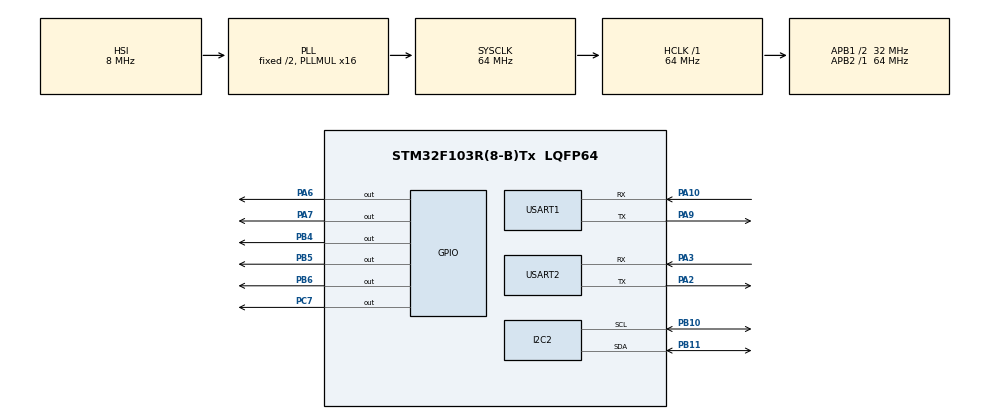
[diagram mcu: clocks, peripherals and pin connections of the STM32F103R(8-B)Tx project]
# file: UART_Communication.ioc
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Mcu.Family=STM32F1
Mcu.Name=STM32F103R(8-B)Tx
Mcu.Package=LQFP64
NVIC.PriorityGroup=NVIC_PRIORITYGROUP_4
NVIC.USART1_IRQn=true\:0\:0\:false\:false\:true\:true\:true\:true
NVIC.USART2_IRQn=true\:0\:0\:false\:false\:true\:true\:true\:true
PA10.Mode=Asynchronous
PA10.Signal=USART1_RX
PA13.Mode=Serial_Wire
PA13.Signal=SYS_JTMS-SWDIO
PA14.Mode=Serial_Wire
PA14.Signal=SYS_JTCK-SWCLK
PA2.Mode=Asynchronous
PA2.Signal=USART2_TX
PA3.Mode=Asynchronous
PA3.Signal=USART2_RX
PA6.Signal=GPIO_Output
PA7.Signal=GPIO_Output
PA9.Mode=Asynchronous
PA9.Signal=USART1_TX
PB10.Mode=I2C
PB10.Signal=I2C2_SCL
PB11.Mode=I2C
PB11.Signal=I2C2_SDA
PB4.Signal=GPIO_Output
PB5.Signal=GPIO_Output
PB6.Signal=GPIO_Output
PC14-OSC32_IN.Mode=LSE-External-Oscillator
PC14-OSC32_IN.Signal=RCC_OSC32_IN
PC15-OSC32_OUT.Mode=LSE-External-Oscillator
PC15-OSC32_OUT.Signal=RCC_OSC32_OUT
PC7.Signal=GPIO_Output
PD0-OSC_IN.Mode=HSE-External-Oscillator
PD0-OSC_IN.Signal=RCC_OSC_IN
PD1-OSC_OUT.Mode=HSE-External-Oscillator
PD1-OSC_OUT.Signal=RCC_OSC_OUT
ProjectManager.HeapSize=0x200
ProjectManager.StackSize=0x400
ProjectManager.TargetToolchain=STM32CubeIDE
RCC.AHBFreq_Value=64000000
RCC.APB1CLKDivider=RCC_HCLK_DIV2
RCC.APB1Freq_Value=32000000
RCC.APB1TimFreq_Value=64000000
RCC.APB2Freq_Value=64000000
RCC.APB2TimFreq_Value=64000000
RCC.HCLKFreq_Value=64000000
RCC.PLLMUL=RCC_PLL_MUL16
RCC.RTCClockSelection=RCC_RTCCLKSOURCE_LSE
RCC.SYSCLKFreq_VALUE=64000000
RCC.SYSCLKSource=RCC_SYSCLKSOURCE_PLLCLK
RCC.USBFreq_Value=64000000
USART1.VirtualMode=VM_ASYNC
USART2.VirtualMode=VM_ASYNC
board=NUCLEO-F103RB

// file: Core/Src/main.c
/* USER CODE BEGIN Header */
/**
  ******************************************************************************
  * @file           : main.c
  * @brief          : Main program body
  ******************************************************************************
  * @attention
  *
  * Copyright (c) 2022 STMicroelectronics.
  * All rights reserved.
  *
  * This software is licensed under terms that can be found in the LICENSE file
  * in the root directory of this software component.
  * If no LICENSE file comes with this software, it is provided AS-IS.
  *
  ******************************************************************************
  */
/* USER CODE END Header */
#include "main.h"

/* USER CODE BEGIN Includes */
#include "lcd.h"
#include "stdlib.h"
/* USER CODE END Includes */

 I2C_HandleTypeDef hi2c2;

UART_HandleTypeDef huart1;
UART_HandleTypeDef huart2;

void SystemClock_Config(void);
static void MX_GPIO_Init(void);
static void MX_USART2_UART_Init(void);
static void MX_USART1_UART_Init(void);
static void MX_I2C2_Init(void);

/* USER CODE BEGIN 0 */
uint8_t data[100];
char* string[100];
uint8_t r;
/* USER CODE END 0 */

int main(void)
{

  /* MCU Configuration--------------------------------------------------------*/

  /* Reset of all peripherals, Initializes the Flash interface and the Systick. */
  HAL_Init();

  /* Configure the system clock */
  SystemClock_Config();

  /* Initialize all configured peripherals */
  MX_GPIO_Init();
  MX_USART2_UART_Init();
  MX_USART1_UART_Init();
  MX_I2C2_Init();

  /* Infinite loop */
  while (1)
  {

    /* USER CODE BEGIN 3 */
	  HAL_UART_Receive (&huart2, data, 100, 1000);
	  HAL_UART_Transmit (&huart2, data, 100, 1000);
	  Lcd_PortType ports[] = { GPIOC, GPIOB, GPIOA, GPIOA };
	  Lcd_PinType pins[] = {GPIO_PIN_7, GPIO_PIN_6, GPIO_PIN_7, GPIO_PIN_6};
	  Lcd_HandleTypeDef lcd;
	  lcd = Lcd_create(ports, pins, GPIOB, GPIO_PIN_5, GPIOB, GPIO_PIN_4, LCD_4_BIT_MODE);
	  Lcd_cursor(&lcd, 0,0);
	  for(int i = 0; i < 10; i++)
	  {
		  Lcd_int(&lcd, data[i]);
		  Lcd_cursor(&lcd, 0,i);
	  }
//	  Lcd_cursor(&lcd, 0,13);
//	  Lcd_int(&lcd, data);
//	  Lcd_cursor(&lcd, 1, 0);
//	  Lcd_string(&lcd, "Humidity: ");
//	  Lcd_cursor(&lcd, 1, 13);
//	  Lcd_string(&lcd, "45");
	  HAL_Delay (1000);
  }
  /* USER CODE END 3 */
}

void SystemClock_Config(void)
{
  RCC_OscInitTypeDef RCC_OscInitStruct = {0};
  RCC_ClkInitTypeDef RCC_ClkInitStruct = {0};

  /** Initializes the RCC Oscillators according to the specified parameters
  * in the RCC_OscInitTypeDef structure.
  */
  RCC_OscInitStruct.OscillatorType = RCC_OSCILLATORTYPE_HSI;
  RCC_OscInitStruct.HSIState = RCC_HSI_ON;
  RCC_OscInitStruct.HSICalibrationValue = RCC_HSICALIBRATION_DEFAULT;
  RCC_OscInitStruct.PLL.PLLState = RCC_PLL_ON;
  RCC_OscInitStruct.PLL.PLLSource = RCC_PLLSOURCE_HSI_DIV2;
  RCC_OscInitStruct.PLL.PLLMUL = RCC_PLL_MUL16;
  if (HAL_RCC_OscConfig(&RCC_OscInitStruct) != HAL_OK)
  {
    Error_Handler();
  }

  /** Initializes the CPU, AHB and APB buses clocks
  */
  RCC_ClkInitStruct.ClockType = RCC_CLOCKTYPE_HCLK|RCC_CLOCKTYPE_SYSCLK
                              |RCC_CLOCKTYPE_PCLK1|RCC_CLOCKTYPE_PCLK2;
  RCC_ClkInitStruct.SYSCLKSource = RCC_SYSCLKSOURCE_PLLCLK;
  RCC_ClkInitStruct.AHBCLKDivider = RCC_SYSCLK_DIV1;
  RCC_ClkInitStruct.APB1CLKDivider = RCC_HCLK_DIV2;
  RCC_ClkInitStruct.APB2CLKDivider = RCC_HCLK_DIV1;

  if (HAL_RCC_ClockConfig(&RCC_ClkInitStruct, FLASH_LATENCY_2) != HAL_OK)
  {
    Error_Handler();
  }
}

static void MX_I2C2_Init(void)
{

  hi2c2.Instance = I2C2;
  hi2c2.Init.ClockSpeed = 100000;
  hi2c2.Init.DutyCycle = I2C_DUTYCYCLE_2;
  hi2c2.Init.OwnAddress1 = 0;
  hi2c2.Init.AddressingMode = I2C_ADDRESSINGMODE_7BIT;
  hi2c2.Init.DualAddressMode = I2C_DUALADDRESS_DISABLE;
  hi2c2.Init.OwnAddress2 = 0;
  hi2c2.Init.GeneralCallMode = I2C_GENERALCALL_DISABLE;
  hi2c2.Init.NoStretchMode = I2C_NOSTRETCH_DISABLE;
  if (HAL_I2C_Init(&hi2c2) != HAL_OK)
  {
    Error_Handler();
  }

}

static void MX_USART1_UART_Init(void)
{

  huart1.Instance = USART1;
  huart1.Init.BaudRate = 115200;
  huart1.Init.WordLength = UART_WORDLENGTH_8B;
  huart1.Init.StopBits = UART_STOPBITS_1;
  huart1.Init.Parity = UART_PARITY_NONE;
  huart1.Init.Mode = UART_MODE_TX_RX;
  huart1.Init.HwFlowCtl = UART_HWCONTROL_NONE;
  huart1.Init.OverSampling = UART_OVERSAMPLING_16;
  if (HAL_UART_Init(&huart1) != HAL_OK)
  {
    Error_Handler();
  }

}

static void MX_USART2_UART_Init(void)
{

  huart2.Instance = USART2;
  huart2.Init.BaudRate = 115200;
  huart2.Init.WordLength = UART_WORDLENGTH_8B;
  huart2.Init.StopBits = UART_STOPBITS_1;
  huart2.Init.Parity = UART_PARITY_NONE;
  huart2.Init.Mode = UART_MODE_TX_RX;
  huart2.Init.HwFlowCtl = UART_HWCONTROL_NONE;
  huart2.Init.OverSampling = UART_OVERSAMPLING_16;
  if (HAL_UART_Init(&huart2) != HAL_OK)
  {
    Error_Handler();
  }

}

static void MX_GPIO_Init(void)
{
  GPIO_InitTypeDef GPIO_InitStruct = {0};

  /* GPIO Ports Clock Enable */
  __HAL_RCC_GPIOC_CLK_ENABLE();
  __HAL_RCC_GPIOD_CLK_ENABLE();
  __HAL_RCC_GPIOA_CLK_ENABLE();
  __HAL_RCC_GPIOB_CLK_ENABLE();

  /*Configure GPIO pin Output Level */
  HAL_GPIO_WritePin(GPIOA, GPIO_PIN_6|GPIO_PIN_7, GPIO_PIN_RESET);

  /*Configure GPIO pin Output Level */
  HAL_GPIO_WritePin(GPIOC, GPIO_PIN_7, GPIO_PIN_RESET);

  /*Configure GPIO pin Output Level */
  HAL_GPIO_WritePin(GPIOB, GPIO_PIN_4|GPIO_PIN_5|GPIO_PIN_6, GPIO_PIN_RESET);

  /*Configure GPIO pins : PA6 PA7 */
  GPIO_InitStruct.Pin = GPIO_PIN_6|GPIO_PIN_7;
  GPIO_InitStruct.Mode = GPIO_MODE_OUTPUT_PP;
  GPIO_InitStruct.Pull = GPIO_NOPULL;
  GPIO_InitStruct.Speed = GPIO_SPEED_FREQ_LOW;
  HAL_GPIO_Init(GPIOA, &GPIO_InitStruct);

  /*Configure GPIO pin : PC7 */
  GPIO_InitStruct.Pin = GPIO_PIN_7;
  GPIO_InitStruct.Mode = GPIO_MODE_OUTPUT_PP;
  GPIO_InitStruct.Pull = GPIO_NOPULL;
  GPIO_InitStruct.Speed = GPIO_SPEED_FREQ_LOW;
  HAL_GPIO_Init(GPIOC, &GPIO_InitStruct);

  /*Configure GPIO pins : PB4 PB5 PB6 */
  GPIO_InitStruct.Pin = GPIO_PIN_4|GPIO_PIN_5|GPIO_PIN_6;
  GPIO_InitStruct.Mode = GPIO_MODE_OUTPUT_PP;
  GPIO_InitStruct.Pull = GPIO_NOPULL;
  GPIO_InitStruct.Speed = GPIO_SPEED_FREQ_LOW;
  HAL_GPIO_Init(GPIOB, &GPIO_InitStruct);

}

void Error_Handler(void)
{
  __disable_irq();
  while (1)
  {
  }
}
